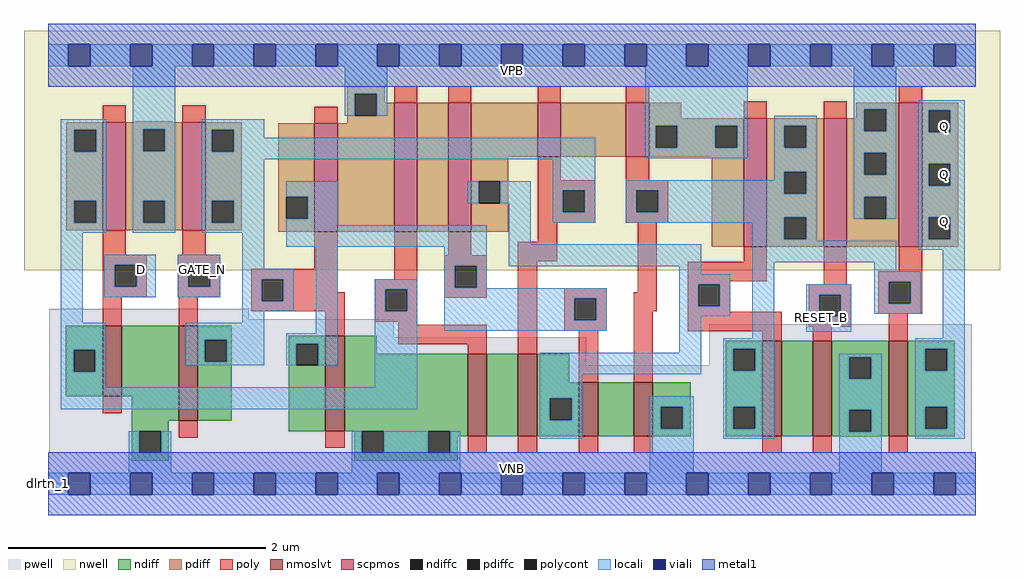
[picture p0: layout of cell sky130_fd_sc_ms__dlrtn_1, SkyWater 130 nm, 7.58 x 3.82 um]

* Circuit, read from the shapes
.subckt sky130_fd_sc_ms__dlrtn_1 D GATE_N RESET_B VGND VNB VPB VPWR Q
XM1 VGND D n1 VNB sky130_fd_pr__nfet_01v8_lvt w=0.55 l=0.15
XM2 n2 GATE_N VGND VNB sky130_fd_pr__nfet_01v8_lvt w=0.74 l=0.15
XM3 VGND n2 n3 VNB sky130_fd_pr__nfet_01v8_lvt w=0.74 l=0.15
XM4 n4 n1 VGND VNB sky130_fd_pr__nfet_01v8_lvt w=0.64 l=0.15
XM5 n5 n2 n4 VNB sky130_fd_pr__nfet_01v8_lvt w=0.64 l=0.15
XM6 n6 n3 n5 VNB sky130_fd_pr__nfet_01v8_lvt w=0.42 l=0.15
XM7 VGND n7 n6 VNB sky130_fd_pr__nfet_01v8_lvt w=0.42 l=0.15
XM8 n8 n5 n7 VNB sky130_fd_pr__nfet_01v8_lvt w=0.74 l=0.15
XM9 VGND RESET_B n8 VNB sky130_fd_pr__nfet_01v8_lvt w=0.74 l=0.15
XM10 Q n7 VGND VNB sky130_fd_pr__nfet_01v8_lvt w=0.74 l=0.15
XM11 VPWR D n1 VPB sky130_fd_pr__pfet_01v8 w=0.84 l=0.18
XM12 n2 GATE_N VPWR VPB sky130_fd_pr__pfet_01v8 w=0.84 l=0.18
XM13 VPWR n2 n3 VPB sky130_fd_pr__pfet_01v8 w=0.84 l=0.18
XM14 n9 n1 VPWR VPB sky130_fd_pr__pfet_01v8 w=1 l=0.18
XM15 n5 n3 n9 VPB sky130_fd_pr__pfet_01v8 w=1 l=0.18
XM16 n10 n2 n5 VPB sky130_fd_pr__pfet_01v8 w=0.42 l=0.18
XM17 VPWR n7 n10 VPB sky130_fd_pr__pfet_01v8 w=0.42 l=0.18
XM18 n7 n5 VPWR VPB sky130_fd_pr__pfet_01v8 w=1 l=0.18
XM19 VPWR RESET_B n7 VPB sky130_fd_pr__pfet_01v8 w=1 l=0.18
XM20 Q n7 VPWR VPB sky130_fd_pr__pfet_01v8 w=1.12 l=0.18
.ends

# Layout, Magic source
magic
tech sky130A
magscale 1 2
<< nwell >>
rect -38 332 1478 704
<< pwell >>
rect 1 256 311 272
rect 1 228 536 256
rect 1 184 835 228
rect 1026 184 1434 248
rect 1 49 1434 184
rect 0 0 1440 49
<< scpmos >>
rect 84 394 120 562
rect 208 394 244 562
rect 413 392 449 560
rect 537 392 573 592
rect 621 392 657 592
rect 760 508 796 592
rect 897 508 933 592
rect 1080 368 1116 568
rect 1204 368 1240 568
rect 1321 368 1357 592
<< nmoslvt >>
rect 84 136 114 246
rect 202 98 232 246
rect 430 82 460 230
rect 651 74 681 202
rect 729 74 759 202
rect 824 74 854 158
rect 909 74 939 158
rect 1109 74 1139 222
rect 1187 74 1217 222
rect 1305 74 1335 222
<< ndiff >>
rect 27 208 84 246
rect 27 174 39 208
rect 73 174 84 208
rect 27 136 84 174
rect 114 136 202 246
rect 129 98 202 136
rect 232 224 285 246
rect 232 190 243 224
rect 277 190 285 224
rect 232 98 285 190
rect 373 218 430 230
rect 373 184 385 218
rect 419 184 430 218
rect 129 82 187 98
rect 129 48 141 82
rect 175 48 187 82
rect 373 82 430 184
rect 460 202 510 230
rect 460 82 651 202
rect 129 36 187 48
rect 475 48 487 82
rect 521 48 590 82
rect 624 74 651 82
rect 681 74 729 202
rect 759 158 809 202
rect 1052 210 1109 222
rect 1052 176 1064 210
rect 1098 176 1109 210
rect 759 133 824 158
rect 759 99 779 133
rect 813 99 824 133
rect 759 74 824 99
rect 854 74 909 158
rect 939 120 998 158
rect 939 86 951 120
rect 985 86 998 120
rect 939 74 998 86
rect 1052 120 1109 176
rect 1052 86 1064 120
rect 1098 86 1109 120
rect 1052 74 1109 86
rect 1139 74 1187 222
rect 1217 197 1305 222
rect 1217 163 1244 197
rect 1278 163 1305 197
rect 1217 115 1305 163
rect 1217 81 1244 115
rect 1278 81 1305 115
rect 1217 74 1305 81
rect 1335 210 1408 222
rect 1335 176 1362 210
rect 1396 176 1408 210
rect 1335 120 1408 176
rect 1335 86 1362 120
rect 1396 86 1408 120
rect 1335 74 1408 86
rect 624 48 636 74
rect 1232 73 1290 74
rect 475 36 636 48
<< pdiff >>
rect 464 606 522 618
rect 135 562 193 563
rect 28 550 84 562
rect 28 516 40 550
rect 74 516 84 550
rect 28 440 84 516
rect 28 406 40 440
rect 74 406 84 440
rect 28 394 84 406
rect 120 551 208 562
rect 120 517 147 551
rect 181 517 208 551
rect 120 440 208 517
rect 120 406 147 440
rect 181 406 208 440
rect 120 394 208 406
rect 244 550 300 562
rect 464 572 476 606
rect 510 592 522 606
rect 510 572 537 592
rect 464 560 537 572
rect 244 516 254 550
rect 288 516 300 550
rect 244 440 300 516
rect 244 406 254 440
rect 288 406 300 440
rect 244 394 300 406
rect 357 446 413 560
rect 357 412 369 446
rect 403 412 413 446
rect 357 392 413 412
rect 449 392 537 560
rect 573 392 621 592
rect 657 508 760 592
rect 796 508 897 592
rect 933 568 983 592
rect 1255 582 1321 592
rect 1255 568 1267 582
rect 933 556 1080 568
rect 933 522 943 556
rect 977 522 1036 556
rect 1070 522 1080 556
rect 933 508 1080 522
rect 657 470 714 508
rect 657 436 668 470
rect 702 436 714 470
rect 657 392 714 436
rect 1030 368 1080 508
rect 1116 556 1204 568
rect 1116 522 1143 556
rect 1177 522 1204 556
rect 1116 485 1204 522
rect 1116 451 1143 485
rect 1177 451 1204 485
rect 1116 414 1204 451
rect 1116 380 1143 414
rect 1177 380 1204 414
rect 1116 368 1204 380
rect 1240 548 1267 568
rect 1301 548 1321 582
rect 1240 514 1321 548
rect 1240 480 1267 514
rect 1301 480 1321 514
rect 1240 446 1321 480
rect 1240 412 1267 446
rect 1301 412 1321 446
rect 1240 368 1321 412
rect 1357 580 1413 592
rect 1357 546 1367 580
rect 1401 546 1413 580
rect 1357 497 1413 546
rect 1357 463 1367 497
rect 1401 463 1413 497
rect 1357 414 1413 463
rect 1357 380 1367 414
rect 1401 380 1413 414
rect 1357 368 1413 380
<< ndiffc >>
rect 39 174 73 208
rect 243 190 277 224
rect 385 184 419 218
rect 141 48 175 82
rect 487 48 521 82
rect 590 48 624 82
rect 1064 176 1098 210
rect 779 99 813 133
rect 951 86 985 120
rect 1064 86 1098 120
rect 1244 163 1278 197
rect 1244 81 1278 115
rect 1362 176 1396 210
rect 1362 86 1396 120
<< pdiffc >>
rect 40 516 74 550
rect 40 406 74 440
rect 147 517 181 551
rect 147 406 181 440
rect 476 572 510 606
rect 254 516 288 550
rect 254 406 288 440
rect 369 412 403 446
rect 943 522 977 556
rect 1036 522 1070 556
rect 668 436 702 470
rect 1143 522 1177 556
rect 1143 451 1177 485
rect 1143 380 1177 414
rect 1267 548 1301 582
rect 1267 480 1301 514
rect 1267 412 1301 446
rect 1367 546 1401 580
rect 1367 463 1401 497
rect 1367 380 1401 414
<< poly >>
rect 84 562 120 588
rect 208 562 244 588
rect 413 560 449 586
rect 537 592 573 618
rect 621 592 657 618
rect 760 592 796 618
rect 897 592 933 618
rect 84 356 120 394
rect 208 356 244 394
rect 1080 568 1116 594
rect 1204 568 1240 594
rect 1321 592 1357 618
rect 760 472 796 508
rect 897 472 933 508
rect 760 456 849 472
rect 760 422 799 456
rect 833 422 849 456
rect 760 406 849 422
rect 897 456 963 472
rect 897 422 913 456
rect 947 422 963 456
rect 897 406 963 422
rect 84 340 153 356
rect 84 306 103 340
rect 137 306 153 340
rect 84 290 153 306
rect 201 340 267 356
rect 201 306 217 340
rect 251 306 267 340
rect 413 334 449 392
rect 201 290 267 306
rect 315 318 449 334
rect 537 318 573 392
rect 621 355 657 392
rect 760 376 790 406
rect 84 246 114 290
rect 202 246 232 290
rect 315 284 331 318
rect 365 298 449 318
rect 507 302 573 318
rect 365 284 460 298
rect 315 268 460 284
rect 84 110 114 136
rect 430 230 460 268
rect 507 268 523 302
rect 557 268 573 302
rect 615 339 681 355
rect 615 305 631 339
rect 665 305 681 339
rect 615 289 681 305
rect 729 346 790 376
rect 507 252 573 268
rect 543 247 573 252
rect 202 72 232 98
rect 543 217 681 247
rect 651 202 681 217
rect 729 202 759 346
rect 801 288 867 304
rect 915 298 945 406
rect 1080 345 1116 368
rect 801 254 817 288
rect 851 254 867 288
rect 801 238 867 254
rect 909 268 945 298
rect 993 315 1116 345
rect 993 310 1059 315
rect 1204 310 1240 368
rect 1321 330 1357 368
rect 1289 314 1357 330
rect 993 276 1009 310
rect 1043 276 1059 310
rect 430 56 460 82
rect 824 158 854 238
rect 909 158 939 268
rect 993 267 1059 276
rect 1181 294 1247 310
rect 993 237 1139 267
rect 1181 260 1197 294
rect 1231 260 1247 294
rect 1289 280 1305 314
rect 1339 280 1357 314
rect 1289 264 1357 280
rect 1181 244 1247 260
rect 1109 222 1139 237
rect 1187 222 1217 244
rect 1305 222 1335 264
rect 651 48 681 74
rect 729 48 759 74
rect 824 48 854 74
rect 909 48 939 74
rect 1109 48 1139 74
rect 1187 48 1217 74
rect 1305 48 1335 74
<< polycont >>
rect 799 422 833 456
rect 913 422 947 456
rect 103 306 137 340
rect 217 306 251 340
rect 331 284 365 318
rect 523 268 557 302
rect 631 305 665 339
rect 817 254 851 288
rect 1009 276 1043 310
rect 1197 260 1231 294
rect 1305 280 1339 314
<< locali >>
rect 0 649 31 683
rect 65 649 127 683
rect 161 649 223 683
rect 257 649 319 683
rect 353 649 415 683
rect 449 649 511 683
rect 545 649 607 683
rect 641 649 703 683
rect 737 649 799 683
rect 833 649 895 683
rect 929 649 991 683
rect 1025 649 1087 683
rect 1121 649 1183 683
rect 1217 649 1279 683
rect 1313 649 1375 683
rect 1409 649 1440 683
rect 19 550 90 566
rect 19 516 40 550
rect 74 516 90 550
rect 19 440 90 516
rect 19 406 40 440
rect 74 406 90 440
rect 19 390 90 406
rect 131 551 197 649
rect 460 606 526 649
rect 460 572 476 606
rect 510 572 526 606
rect 131 517 147 551
rect 181 517 197 551
rect 131 440 197 517
rect 131 406 147 440
rect 181 406 197 440
rect 131 390 197 406
rect 238 550 335 566
rect 238 516 254 550
rect 288 538 335 550
rect 927 556 1086 649
rect 1251 582 1317 649
rect 288 516 849 538
rect 238 504 849 516
rect 927 522 943 556
rect 977 522 1036 556
rect 1070 522 1086 556
rect 927 506 1086 522
rect 1127 556 1193 572
rect 1127 522 1143 556
rect 1177 522 1193 556
rect 238 440 335 504
rect 238 406 254 440
rect 288 406 335 440
rect 238 390 335 406
rect 19 250 53 390
rect 87 340 167 356
rect 87 306 103 340
rect 137 306 167 340
rect 87 290 167 306
rect 201 340 267 356
rect 201 306 217 340
rect 251 306 267 340
rect 201 290 267 306
rect 301 334 335 390
rect 369 446 449 470
rect 403 412 449 446
rect 651 436 668 470
rect 702 436 749 470
rect 369 402 449 412
rect 369 368 681 402
rect 301 318 381 334
rect 301 284 331 318
rect 365 284 381 318
rect 301 268 381 284
rect 301 250 335 268
rect 19 208 89 250
rect 19 174 39 208
rect 73 174 89 208
rect 213 224 335 250
rect 415 234 449 368
rect 615 339 681 368
rect 213 190 243 224
rect 277 190 335 224
rect 213 184 335 190
rect 369 218 449 234
rect 369 184 385 218
rect 419 184 449 218
rect 507 302 573 318
rect 507 268 523 302
rect 557 268 573 302
rect 19 150 89 174
rect 507 150 573 268
rect 615 305 631 339
rect 665 305 681 339
rect 715 372 749 436
rect 783 456 849 504
rect 1127 485 1193 522
rect 1127 472 1143 485
rect 783 422 799 456
rect 833 422 849 456
rect 783 406 849 422
rect 897 456 1143 472
rect 897 422 913 456
rect 947 451 1143 456
rect 1177 451 1193 485
rect 947 422 1193 451
rect 897 414 1193 422
rect 897 406 1143 414
rect 1093 380 1143 406
rect 1177 380 1193 414
rect 1251 548 1267 582
rect 1301 548 1317 582
rect 1251 514 1317 548
rect 1251 480 1267 514
rect 1301 480 1317 514
rect 1251 446 1317 480
rect 1251 412 1267 446
rect 1301 412 1317 446
rect 1351 580 1423 596
rect 1351 546 1367 580
rect 1401 546 1423 580
rect 1351 497 1423 546
rect 1351 463 1367 497
rect 1401 463 1423 497
rect 1351 414 1423 463
rect 1093 378 1193 380
rect 1351 380 1367 414
rect 1401 380 1423 414
rect 715 338 1014 372
rect 615 304 681 305
rect 980 326 1014 338
rect 1093 344 1317 378
rect 1351 364 1423 380
rect 980 310 1059 326
rect 615 288 867 304
rect 615 254 817 288
rect 851 254 867 288
rect 615 238 867 254
rect 980 276 1009 310
rect 1043 276 1059 310
rect 980 260 1059 276
rect 980 204 1014 260
rect 1093 226 1127 344
rect 1283 330 1317 344
rect 1283 314 1355 330
rect 1177 294 1247 310
rect 1177 260 1197 294
rect 1231 260 1247 294
rect 1283 280 1305 314
rect 1339 280 1355 314
rect 1283 264 1355 280
rect 1177 236 1247 260
rect 1389 226 1423 364
rect 19 116 573 150
rect 763 170 1014 204
rect 1048 210 1127 226
rect 1048 176 1064 210
rect 1098 176 1127 210
rect 1346 210 1423 226
rect 763 133 829 170
rect 763 99 779 133
rect 813 99 829 133
rect 125 48 141 82
rect 175 48 191 82
rect 125 17 191 48
rect 471 48 487 82
rect 521 48 590 82
rect 624 48 640 82
rect 763 70 829 99
rect 934 120 1002 136
rect 934 86 951 120
rect 985 86 1002 120
rect 471 17 640 48
rect 934 17 1002 86
rect 1048 120 1127 176
rect 1048 86 1064 120
rect 1098 86 1127 120
rect 1048 70 1127 86
rect 1228 197 1294 202
rect 1228 163 1244 197
rect 1278 163 1294 197
rect 1228 115 1294 163
rect 1228 81 1244 115
rect 1278 81 1294 115
rect 1228 17 1294 81
rect 1346 176 1362 210
rect 1396 176 1423 210
rect 1346 120 1423 176
rect 1346 86 1362 120
rect 1396 86 1423 120
rect 1346 70 1423 86
rect 0 -17 31 17
rect 65 -17 127 17
rect 161 -17 223 17
rect 257 -17 319 17
rect 353 -17 415 17
rect 449 -17 511 17
rect 545 -17 607 17
rect 641 -17 703 17
rect 737 -17 799 17
rect 833 -17 895 17
rect 929 -17 991 17
rect 1025 -17 1087 17
rect 1121 -17 1183 17
rect 1217 -17 1279 17
rect 1313 -17 1375 17
rect 1409 -17 1440 17
<< viali >>
rect 31 649 65 683
rect 127 649 161 683
rect 223 649 257 683
rect 319 649 353 683
rect 415 649 449 683
rect 511 649 545 683
rect 607 649 641 683
rect 703 649 737 683
rect 799 649 833 683
rect 895 649 929 683
rect 991 649 1025 683
rect 1087 649 1121 683
rect 1183 649 1217 683
rect 1279 649 1313 683
rect 1375 649 1409 683
rect 31 -17 65 17
rect 127 -17 161 17
rect 223 -17 257 17
rect 319 -17 353 17
rect 415 -17 449 17
rect 511 -17 545 17
rect 607 -17 641 17
rect 703 -17 737 17
rect 799 -17 833 17
rect 895 -17 929 17
rect 991 -17 1025 17
rect 1087 -17 1121 17
rect 1183 -17 1217 17
rect 1279 -17 1313 17
rect 1375 -17 1409 17
<< metal1 >>
rect 0 683 1440 715
rect 0 649 31 683
rect 65 649 127 683
rect 161 649 223 683
rect 257 649 319 683
rect 353 649 415 683
rect 449 649 511 683
rect 545 649 607 683
rect 641 649 703 683
rect 737 649 799 683
rect 833 649 895 683
rect 929 649 991 683
rect 1025 649 1087 683
rect 1121 649 1183 683
rect 1217 649 1279 683
rect 1313 649 1375 683
rect 1409 649 1440 683
rect 0 617 1440 649
rect 0 17 1440 49
rect 0 -17 31 17
rect 65 -17 127 17
rect 161 -17 223 17
rect 257 -17 319 17
rect 353 -17 415 17
rect 449 -17 511 17
rect 545 -17 607 17
rect 641 -17 703 17
rect 737 -17 799 17
rect 833 -17 895 17
rect 929 -17 991 17
rect 1025 -17 1087 17
rect 1121 -17 1183 17
rect 1217 -17 1279 17
rect 1313 -17 1375 17
rect 1409 -17 1440 17
rect 0 -49 1440 -17
<< labels >>
flabel pwell s 0 0 1440 49 0 FreeSans 200 0 0 0 VNB
port 5 nsew ground bidirectional
flabel nwell s 0 617 1440 666 0 FreeSans 200 0 0 0 VPB
port 6 nsew power bidirectional
rlabel comment s 0 0 0 0 4 dlrtn_1
flabel metal1 s 0 617 1440 666 0 FreeSans 340 0 0 0 VPWR
port 7 nsew power bidirectional
flabel metal1 s 0 0 1440 49 0 FreeSans 340 0 0 0 VGND
port 4 nsew ground bidirectional
flabel locali s 127 316 161 350 0 FreeSans 340 0 0 0 D
port 1 nsew signal input
flabel locali s 223 316 257 350 0 FreeSans 340 0 0 0 GATE_N
port 2 nsew clock input
flabel locali s 1183 242 1217 276 0 FreeSans 340 0 0 0 RESET_B
port 3 nsew signal input
flabel locali s 1375 390 1409 424 0 FreeSans 340 0 0 0 Q
port 8 nsew signal output
flabel locali s 1375 464 1409 498 0 FreeSans 340 0 0 0 Q
port 8 nsew signal output
flabel locali s 1375 538 1409 572 0 FreeSans 340 0 0 0 Q
port 8 nsew signal output
<< properties >>
string LEFsite unit
string LEFclass CORE
string FIXED_BBOX 0 0 1440 666
string GDS_FILE $PDKPATH/libs.ref/sky130_fd_sc_ms/gds/sky130_fd_sc_ms.gds
string LEFsymmetry X Y
string GDS_END 1574826
string GDS_START 1564174
<< end >>
